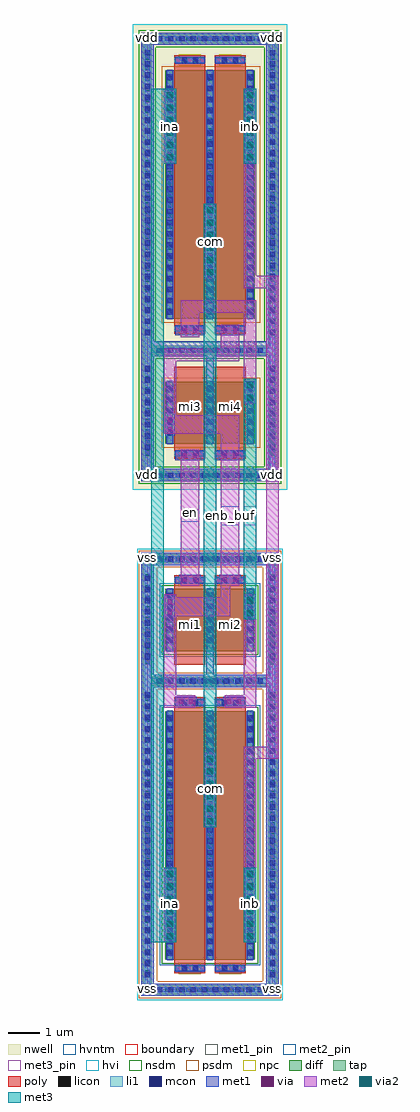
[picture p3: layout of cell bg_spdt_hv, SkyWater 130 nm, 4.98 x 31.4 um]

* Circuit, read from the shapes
.subckt bg_spdt_hv com en en_buf enb_buf ina inb vdd vss
XM1 com enb_buf ina vss sky130_fd_pr__nfet_g5v0d10v5 w=8 l=1
XM2 vss en enb_buf vss sky130_fd_pr__nfet_g5v0d10v5 w=2 l=1
XM3 inb en_buf com vss sky130_fd_pr__nfet_g5v0d10v5 w=8 l=1
XM4 en_buf enb_buf vss vss sky130_fd_pr__nfet_g5v0d10v5 w=2 l=1
XM5 vdd en enb_buf vdd sky130_fd_pr__pfet_g5v0d10v5 w=2 l=1
XM6 com en_buf ina vdd sky130_fd_pr__pfet_g5v0d10v5 w=8 l=1
XM7 en_buf enb_buf vdd vdd sky130_fd_pr__pfet_g5v0d10v5 w=2 l=1
XM8 inb enb_buf com vdd sky130_fd_pr__pfet_g5v0d10v5 w=8 l=1
.ends

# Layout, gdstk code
from math import pi, radians
import gdstk
lib = gdstk.Library(unit=1e-6, precision=1e-09)
def R(c, l, rs):  # rectangles x0, y0, x1, y1
    for r in rs: c.add(gdstk.rectangle(r[:2], r[2:], *l))
def A(c, l, x, y, w, h, nx, ny, dx, dy):  # array of equal rectangles
    R(c, l, [(x+i*dx, y+j*dy, x+i*dx+w, y+j*dy+h) for i in range(nx) for j in range(ny)])
def P(c, l, *ps):  # polygons
    for p in ps: c.add(gdstk.Polygon(p, *l))
nwell = (64, 20)
diff = (65, 20)
tap = (65, 44)
poly = (66, 20)
licon = (66, 44)
li1 = (67, 20)
mcon = (67, 44)
met1_pin = (68, 16)
met1 = (68, 20)
via = (68, 44)
met2_pin = (69, 16)
met2 = (69, 20)
via2 = (69, 44)
met3_pin = (70, 16)
met3 = (70, 20)
hvi = (75, 20)
nsdm = (93, 44)
psdm = (94, 20)
npc = (95, 20)
hvntm = (125, 20)
boundary = (235, 4)

sky130_fd_pr__nfet_g5v0d = lib.new_cell('sky130_fd_pr__nfet_g5v0d10v5_6KUJGB')
R(sky130_fd_pr__nfet_g5v0d, diff, [(0.91,1.295,3.78,3.295)])
R(sky130_fd_pr__nfet_g5v0d, tap, [(0.185,0.185,4.505,0.475), (0.185,0.475,0.475,4.115), (4.215,0.475,4.505,4.115), (0.185,4.115,4.505,4.405)])
R(sky130_fd_pr__nfet_g5v0d, poly, [(1.2,0.855,2.2,3.735), (2.49,0.855,3.49,3.735)])
A(sky130_fd_pr__nfet_g5v0d, licon, 0.9, 0.245, 0.17, 0.17, 9, 2, 0.34, 3.93)
A(sky130_fd_pr__nfet_g5v0d, licon, 0.245, 0.87, 0.17, 0.17, 1, 9, 0, 0.34)
A(sky130_fd_pr__nfet_g5v0d, licon, 4.275, 0.87, 0.17, 0.17, 1, 9, 0, 0.34)
A(sky130_fd_pr__nfet_g5v0d, licon, 0.97, 1.55, 0.17, 0.17, 3, 5, 1.29, 0.34)
R(sky130_fd_pr__nfet_g5v0d, licon, [(1.445,3.485,1.615,3.655), (1.785,3.485,1.955,3.655), (2.735,3.485,2.905,3.655), (3.075,3.485,3.245,3.655)])
A(sky130_fd_pr__nfet_g5v0d, li1, 0.97, 1.275, 0.17, 2.04, 3, 1, 1.29, 0)
R(sky130_fd_pr__nfet_g5v0d, li1, [(0.245,0.245,4.445,0.415), (0.245,0.415,0.415,4.175), (4.275,0.415,4.445,4.175), (1.2,3.485,2.2,3.655), (2.49,3.485,3.49,3.655), (0.245,4.175,4.445,4.345)])
A(sky130_fd_pr__nfet_g5v0d, mcon, 0.97, 1.57, 0.17, 0.17, 3, 5, 1.29, 0.36)
R(sky130_fd_pr__nfet_g5v0d, mcon, [(1.435,3.485,1.605,3.655), (1.795,3.485,1.965,3.655), (2.725,3.485,2.895,3.655), (3.085,3.485,3.255,3.655)])
A(sky130_fd_pr__nfet_g5v0d, met1, 0.94, 1.295, 0.23, 2, 3, 1, 1.29, 0)
R(sky130_fd_pr__nfet_g5v0d, met1, [(1.22,3.455,2.18,3.685), (2.51,3.455,3.47,3.685)])
R(sky130_fd_pr__nfet_g5v0d, hvi, [(0,0,4.69,4.59)])
R(sky130_fd_pr__nfet_g5v0d, nsdm, [(0.785,1.17,3.905,3.42)])
R(sky130_fd_pr__nfet_g5v0d, psdm, [(0.06,0.06,4.63,0.6), (0.06,0.6,0.655,3.99), (4.035,0.6,4.63,3.99), (0.06,3.99,4.63,4.53)])
R(sky130_fd_pr__nfet_g5v0d, npc, [(1.345,3.385,2.055,3.755), (2.635,3.385,3.345,3.755)])
R(sky130_fd_pr__nfet_g5v0d, hvntm, [(0.725,1.11,3.965,3.48)])
R(sky130_fd_pr__nfet_g5v0d, boundary, [(0.33,0.33,4.36,4.26)])

spdt_mi1_mi2 = lib.new_cell('spdt_mi1_mi2')
spdt_mi1_mi2.add(gdstk.Reference(sky130_fd_pr__nfet_g5v0d, (0,0)))

via__m1_m2 = lib.new_cell('via__M1_M2')
R(via__m1_m2, met1, [(0,0.05,0.7,0.35)])
R(via__m1_m2, via, [(0.115,0.125,0.265,0.275), (0.435,0.125,0.585,0.275)])
R(via__m1_m2, met2, [(0.05,0,0.65,0.4)])

c_sky130_fd_pr__nfet_g5v0d = lib.new_cell('sky130_fd_pr__nfet_g5v0d10v5_N3GJT9')
R(c_sky130_fd_pr__nfet_g5v0d, diff, [(0.91,1.295,3.78,9.295)])
R(c_sky130_fd_pr__nfet_g5v0d, tap, [(0.185,0.185,4.505,0.475), (0.185,0.475,0.475,10.115), (4.215,0.475,4.505,10.115), (0.185,10.115,4.505,10.405)])
R(c_sky130_fd_pr__nfet_g5v0d, poly, [(1.2,0.855,2.2,9.735), (2.49,0.855,3.49,9.735)])
A(c_sky130_fd_pr__nfet_g5v0d, licon, 0.9, 0.245, 0.17, 0.17, 9, 2, 0.34, 9.93)
A(c_sky130_fd_pr__nfet_g5v0d, licon, 0.245, 0.79, 0.17, 0.17, 1, 27, 0, 0.34)
A(c_sky130_fd_pr__nfet_g5v0d, licon, 4.275, 0.79, 0.17, 0.17, 1, 27, 0, 0.34)
A(c_sky130_fd_pr__nfet_g5v0d, licon, 0.97, 1.47, 0.17, 0.17, 3, 23, 1.29, 0.34)
R(c_sky130_fd_pr__nfet_g5v0d, licon, [(1.445,0.935,1.615,1.105), (1.785,0.935,1.955,1.105), (2.735,0.935,2.905,1.105), (3.075,0.935,3.245,1.105), (1.445,9.485,1.615,9.655), (1.785,9.485,1.955,9.655), (2.735,9.485,2.905,9.655), (3.075,9.485,3.245,9.655)])
A(c_sky130_fd_pr__nfet_g5v0d, li1, 0.97, 1.275, 0.17, 8.04, 3, 1, 1.29, 0)
R(c_sky130_fd_pr__nfet_g5v0d, li1, [(0.245,0.245,4.445,0.415), (0.245,0.415,0.415,10.175), (4.275,0.415,4.445,10.175), (1.2,0.935,2.2,1.105), (2.49,0.935,3.49,1.105), (1.2,9.485,2.2,9.655), (2.49,9.485,3.49,9.655), (0.245,10.175,4.445,10.345)])
A(c_sky130_fd_pr__nfet_g5v0d, mcon, 0.97, 1.43, 0.17, 0.17, 3, 22, 1.29, 0.36)
R(c_sky130_fd_pr__nfet_g5v0d, mcon, [(1.435,0.935,1.605,1.105), (1.795,0.935,1.965,1.105), (2.725,0.935,2.895,1.105), (3.085,0.935,3.255,1.105), (1.435,9.485,1.605,9.655), (1.795,9.485,1.965,9.655), (2.725,9.485,2.895,9.655), (3.085,9.485,3.255,9.655)])
A(c_sky130_fd_pr__nfet_g5v0d, met1, 0.94, 1.295, 0.23, 8, 3, 1, 1.29, 0)
R(c_sky130_fd_pr__nfet_g5v0d, met1, [(1.22,0.905,2.18,1.135), (2.51,0.905,3.47,1.135), (1.22,9.455,2.18,9.685), (2.51,9.455,3.47,9.685)])
R(c_sky130_fd_pr__nfet_g5v0d, hvi, [(0,0,4.69,10.59)])
R(c_sky130_fd_pr__nfet_g5v0d, nsdm, [(0.785,1.17,3.905,9.42)])
R(c_sky130_fd_pr__nfet_g5v0d, psdm, [(0.06,0.06,4.63,0.6), (0.06,0.6,0.655,9.99), (4.035,0.6,4.63,9.99), (0.06,9.99,4.63,10.53)])
R(c_sky130_fd_pr__nfet_g5v0d, npc, [(1.345,0.835,2.055,1.205), (2.635,0.835,3.345,1.205), (1.345,9.385,2.055,9.755), (2.635,9.385,3.345,9.755)])
R(c_sky130_fd_pr__nfet_g5v0d, hvntm, [(0.725,1.11,3.965,9.48)])
R(c_sky130_fd_pr__nfet_g5v0d, boundary, [(0.33,0.33,4.36,10.26)])

spdt_m1_m3 = lib.new_cell('spdt_m1_m3')
spdt_m1_m3.add(gdstk.Reference(c_sky130_fd_pr__nfet_g5v0d, (0,0)))

sky130_fd_pr__pfet_g5v0d = lib.new_cell('sky130_fd_pr__pfet_g5v0d10v5_2EL6HC')
R(sky130_fd_pr__pfet_g5v0d, nwell, [(0,0,4.98,10.97)])
R(sky130_fd_pr__pfet_g5v0d, diff, [(1.055,1.485,3.925,9.485)])
R(sky130_fd_pr__pfet_g5v0d, tap, [(0.33,0.33,4.65,0.62), (0.33,0.62,0.62,10.35), (4.36,0.62,4.65,10.35), (0.33,10.35,4.65,10.64)])
R(sky130_fd_pr__pfet_g5v0d, poly, [(1.345,1,2.345,9.97), (2.635,1,3.635,9.97)])
A(sky130_fd_pr__pfet_g5v0d, licon, 1.045, 0.39, 0.17, 0.17, 9, 2, 0.34, 10.02)
A(sky130_fd_pr__pfet_g5v0d, licon, 0.39, 0.98, 0.17, 0.17, 1, 27, 0, 0.34)
A(sky130_fd_pr__pfet_g5v0d, licon, 4.42, 0.98, 0.17, 0.17, 1, 27, 0, 0.34)
A(sky130_fd_pr__pfet_g5v0d, licon, 1.115, 1.66, 0.17, 0.17, 3, 23, 1.29, 0.34)
R(sky130_fd_pr__pfet_g5v0d, licon, [(1.59,1.08,1.76,1.25), (1.93,1.08,2.1,1.25), (2.88,1.08,3.05,1.25), (3.22,1.08,3.39,1.25), (1.59,9.72,1.76,9.89), (1.93,9.72,2.1,9.89), (2.88,9.72,3.05,9.89), (3.22,9.72,3.39,9.89)])
A(sky130_fd_pr__pfet_g5v0d, li1, 1.115, 1.465, 0.17, 8.04, 3, 1, 1.29, 0)
R(sky130_fd_pr__pfet_g5v0d, li1, [(0.39,0.39,4.59,0.56), (0.39,0.56,0.56,10.41), (4.42,0.56,4.59,10.41), (1.345,1.08,2.345,1.25), (2.635,1.08,3.635,1.25), (1.345,9.72,2.345,9.89), (2.635,9.72,3.635,9.89), (0.39,10.41,4.59,10.58)])
A(sky130_fd_pr__pfet_g5v0d, mcon, 1.115, 1.62, 0.17, 0.17, 3, 22, 1.29, 0.36)
R(sky130_fd_pr__pfet_g5v0d, mcon, [(1.58,1.08,1.75,1.25), (1.94,1.08,2.11,1.25), (2.87,1.08,3.04,1.25), (3.23,1.08,3.4,1.25), (1.58,9.72,1.75,9.89), (1.94,9.72,2.11,9.89), (2.87,9.72,3.04,9.89), (3.23,9.72,3.4,9.89)])
A(sky130_fd_pr__pfet_g5v0d, met1, 1.085, 1.485, 0.23, 8, 3, 1, 1.29, 0)
R(sky130_fd_pr__pfet_g5v0d, met1, [(1.365,1.05,2.325,1.28), (2.655,1.05,3.615,1.28), (1.365,9.69,2.325,9.92), (2.655,9.69,3.615,9.92)])
R(sky130_fd_pr__pfet_g5v0d, hvi, [(0,0,4.98,10.97)])
R(sky130_fd_pr__pfet_g5v0d, nsdm, [(0.205,0.205,4.775,0.745), (0.205,0.745,0.745,10.225), (4.235,0.745,4.775,10.225), (0.205,10.225,4.775,10.765)])
R(sky130_fd_pr__pfet_g5v0d, psdm, [(0.93,1.36,4.105,9.61)])
R(sky130_fd_pr__pfet_g5v0d, npc, [(1.49,0.98,2.2,1.35), (2.78,0.98,3.49,1.35), (1.49,9.62,2.2,9.99), (2.78,9.62,3.49,9.99)])
R(sky130_fd_pr__pfet_g5v0d, boundary, [(0.475,0.475,4.505,10.495)])

spdt_m2_m4 = lib.new_cell('spdt_m2_m4')
spdt_m2_m4.add(gdstk.Reference(sky130_fd_pr__pfet_g5v0d, (0,0)))

via__li_m1 = lib.new_cell('via__LI_M1')
R(via__li_m1, li1, [(0.03,0.03,0.56,0.2)])
R(via__li_m1, mcon, [(0.03,0.03,0.2,0.2), (0.39,0.03,0.56,0.2)])
R(via__li_m1, met1, [(0,0,0.59,0.23)])

via__m2_m3 = lib.new_cell('via__M2_M3')
R(via__m2_m3, met2, [(0,0,0.8,0.4)])
R(via__m2_m3, via2, [(0.1,0.1,0.3,0.3), (0.1,0.1,0.3,0.3), (0.5,0.1,0.7,0.3), (0.5,0.1,0.7,0.3)])
R(via__m2_m3, met3, [(0,0,0.8,0.4)])

c_sky130_fd_pr__pfet_g5v0d = lib.new_cell('sky130_fd_pr__pfet_g5v0d10v5_2EL6HD')
R(c_sky130_fd_pr__pfet_g5v0d, nwell, [(0,0,4.98,4.97)])
R(c_sky130_fd_pr__pfet_g5v0d, diff, [(1.055,1.485,3.925,3.485)])
R(c_sky130_fd_pr__pfet_g5v0d, tap, [(0.33,0.33,4.65,0.62), (0.33,0.62,0.62,4.35), (4.36,0.62,4.65,4.35), (0.33,4.35,4.65,4.64)])
R(c_sky130_fd_pr__pfet_g5v0d, poly, [(1.345,1,2.345,3.97), (2.635,1,3.635,3.97)])
A(c_sky130_fd_pr__pfet_g5v0d, licon, 1.045, 0.39, 0.17, 0.17, 9, 2, 0.34, 4.02)
A(c_sky130_fd_pr__pfet_g5v0d, licon, 0.39, 1.1, 0.17, 0.17, 1, 9, 0, 0.34)
A(c_sky130_fd_pr__pfet_g5v0d, licon, 4.42, 1.1, 0.17, 0.17, 1, 9, 0, 0.34)
A(c_sky130_fd_pr__pfet_g5v0d, licon, 1.115, 1.78, 0.17, 0.17, 3, 5, 1.29, 0.34)
R(c_sky130_fd_pr__pfet_g5v0d, licon, [(1.59,1.08,1.76,1.25), (1.93,1.08,2.1,1.25), (2.88,1.08,3.05,1.25), (3.22,1.08,3.39,1.25)])
A(c_sky130_fd_pr__pfet_g5v0d, li1, 1.115, 1.465, 0.17, 2.04, 3, 1, 1.29, 0)
R(c_sky130_fd_pr__pfet_g5v0d, li1, [(0.39,0.39,4.59,0.56), (0.39,0.56,0.56,4.41), (4.42,0.56,4.59,4.41), (1.345,1.08,2.345,1.25), (2.635,1.08,3.635,1.25), (0.39,4.41,4.59,4.58)])
A(c_sky130_fd_pr__pfet_g5v0d, mcon, 1.115, 1.74, 0.17, 0.17, 3, 5, 1.29, 0.36)
R(c_sky130_fd_pr__pfet_g5v0d, mcon, [(1.58,1.08,1.75,1.25), (1.94,1.08,2.11,1.25), (2.87,1.08,3.04,1.25), (3.23,1.08,3.4,1.25)])
A(c_sky130_fd_pr__pfet_g5v0d, met1, 1.085, 1.485, 0.23, 2, 3, 1, 1.29, 0)
R(c_sky130_fd_pr__pfet_g5v0d, met1, [(1.365,1.05,2.325,1.28), (2.655,1.05,3.615,1.28)])
R(c_sky130_fd_pr__pfet_g5v0d, hvi, [(0,0,4.98,4.97)])
R(c_sky130_fd_pr__pfet_g5v0d, nsdm, [(0.205,0.205,4.775,0.745), (0.205,0.745,0.745,4.225), (4.235,0.745,4.775,4.225), (0.205,4.225,4.775,4.765)])
R(c_sky130_fd_pr__pfet_g5v0d, psdm, [(0.93,1.36,4.105,3.61)])
R(c_sky130_fd_pr__pfet_g5v0d, npc, [(1.49,0.98,2.2,1.35), (2.78,0.98,3.49,1.35)])
R(c_sky130_fd_pr__pfet_g5v0d, boundary, [(0.475,0.475,4.505,4.495)])

spdt_mi3_mi4 = lib.new_cell('spdt_mi3_mi4')
spdt_mi3_mi4.add(gdstk.Reference(c_sky130_fd_pr__pfet_g5v0d, (0,6)))

bg_spdt_hv = lib.new_cell('bg_spdt_hv')
R(bg_spdt_hv, met1_pin, [(0.275,0.13,0.675,0.53), (4.305,0.13,4.705,0.53), (0.275,13.99,0.675,14.39), (4.305,13.99,4.705,14.39), (0.275,16.685,0.675,17.085), (4.305,16.685,4.705,17.085), (0.275,30.725,0.675,31.125), (4.305,30.725,4.705,31.125)])
R(bg_spdt_hv, met1, [(1.05,1.905,1.35,2.605), (1.05,1.905,1.35,4.205), (3.63,1.905,3.93,2.605), (3.63,1.905,3.93,4.205), (1.05,2.705,1.35,4.205), (3.63,2.705,3.93,4.205), (2.34,5.605,2.64,6.305), (2.34,5.605,2.64,7.905), (2.34,6.405,2.64,7.905), (2.375,10.46,2.605,13.225), (1.365,17.36,2.325,17.69), (2.655,17.36,3.615,17.69), (2.375,17.895,2.605,20.705), (1.365,21.38,2.325,21.71), (2.655,21.38,3.615,21.71), (2.34,23.26,2.64,24.76), (2.34,23.26,2.64,25.56), (2.34,24.86,2.64,25.56), (1.05,26.96,1.35,27.66), (1.05,26.96,1.35,29.26), (3.63,26.96,3.93,27.66), (3.63,26.96,3.93,29.26), (1.05,27.76,1.35,29.26), (3.63,27.76,3.93,29.26)])
R(bg_spdt_hv, met2_pin, [(2.835,15.28,3.435,15.88), (1.545,15.38,2.145,15.78)])
R(bg_spdt_hv, met2, [(1.4,12.35,3.14,12.95), (2.835,12.35,3.14,13.335), (1.545,13.735,2.145,17.31), (2.835,13.735,3.435,18.81), (1,18.21,3.435,18.81), (2.835,20.955,3.435,21.73), (1.545,21.33,2.145,22.105)])
P(bg_spdt_hv, met2, [(1,9.405),(1,13.05),(1.4,13.05),(1.4,9.805),(2.015,9.805),(2.015,9.405)])
R(bg_spdt_hv, met3_pin, [(1,1.855,1.4,4.255), (3.58,1.855,3.98,4.255), (2.29,5.555,2.69,7.955), (3.58,15.28,3.98,15.88), (2.29,23.21,2.69,25.61), (1,26.91,1.4,29.31), (3.58,26.91,3.98,29.31)])
R(bg_spdt_hv, met3, [(3.58,12.25,3.98,19.98)])
bg_spdt_hv.add(gdstk.FlexPath([(3.78,29.31),(3.78,23.095),(4.505,23.095),(4.505,7.955),(3.78,7.955),(3.78,1.855)], 0.4, ends="flush", simple_path=True, layer=69, datatype=20))  # met2
bg_spdt_hv.add(gdstk.FlexPath([(1.2,18.81),(1.2,20.755),(3.435,20.755)], 0.4, ends="flush", simple_path=True, layer=69, datatype=20))  # met2
bg_spdt_hv.add(gdstk.FlexPath([(3.78,12.25),(3.78,9.605),(2.965,9.605)], 0.4, ends="flush", simple_path=True, layer=69, datatype=20))  # met2
bg_spdt_hv.add(gdstk.FlexPath([(3.78,19.98),(3.78,22.305),(1.545,22.305)], 0.4, ends="flush", simple_path=True, layer=69, datatype=20))  # met2
bg_spdt_hv.add(gdstk.FlexPath([(0.475,16.885),(0.475,20.905)], 0.4, ends="flush", simple_path=True, layer=68, datatype=20))  # met1
bg_spdt_hv.add(gdstk.FlexPath([(0.475,10.26),(0.475,14.19)], 0.4, ends="flush", simple_path=True, layer=68, datatype=20))  # met1
bg_spdt_hv.add(gdstk.FlexPath([(0.475,10.26),(4.505,10.26),(4.505,0.33),(0.475,0.33),(0.475,10.26)], 0.4, ends="extended", simple_path=True, layer=68, datatype=20))  # met1
bg_spdt_hv.add(gdstk.FlexPath([(0.475,30.925),(4.505,30.925),(4.505,20.995),(0.475,20.995),(0.475,30.925)], 0.4, ends="extended", simple_path=True, layer=68, datatype=20))  # met1
bg_spdt_hv.add(gdstk.FlexPath([(0.475,14.19),(4.505,14.19),(4.505,10.26),(0.475,10.26)], 0.4, ends="extended", simple_path=True, layer=68, datatype=20))  # met1
bg_spdt_hv.add(gdstk.FlexPath([(0.475,20.905),(4.505,20.905),(4.505,16.885),(0.475,16.885)], 0.4, ends="extended", simple_path=True, layer=68, datatype=20))  # met1
bg_spdt_hv.add(gdstk.FlexPath([(0.8,29.31),(0.8,1.855)], 0.4, ends="flush", simple_path=True, layer=70, datatype=20))  # met3
bg_spdt_hv.add(gdstk.FlexPath([(2.49,25.61),(2.49,5.555)], 0.4, ends="flush", simple_path=True, layer=70, datatype=20))  # met3
bg_spdt_hv.add(gdstk.Reference(spdt_mi1_mi2, (0.145,9.93)))
bg_spdt_hv.add(gdstk.Reference(via__m1_m2, (1.495,13.335)))
bg_spdt_hv.add(gdstk.Reference(via__m1_m2, (2.785,13.335)))
bg_spdt_hv.add(gdstk.Reference(spdt_m1_m3, (0.145,0)))
bg_spdt_hv.add(gdstk.Reference(via__m1_m2, (2.065,9.805), rotation=pi))
bg_spdt_hv.add(gdstk.Reference(via__m1_m2, (3.615,9.805), rotation=pi))
bg_spdt_hv.add(gdstk.Reference(spdt_m2_m4, (0,20.43)))
bg_spdt_hv.add(gdstk.Reference(via__li_m1, (0.75,0.215)))
bg_spdt_hv.add(gdstk.Reference(via__li_m1, (1.47,0.215)))
bg_spdt_hv.add(gdstk.Reference(via__li_m1, (2.19,0.215)))
bg_spdt_hv.add(gdstk.Reference(via__li_m1, (2.91,0.215)))
bg_spdt_hv.add(gdstk.Reference(via__li_m1, (3.63,0.215)))
bg_spdt_hv.add(gdstk.Reference(via__li_m1, (0.75,10.145)))
bg_spdt_hv.add(gdstk.Reference(via__li_m1, (1.47,10.145)))
bg_spdt_hv.add(gdstk.Reference(via__li_m1, (2.19,10.145)))
bg_spdt_hv.add(gdstk.Reference(via__li_m1, (2.91,10.145)))
bg_spdt_hv.add(gdstk.Reference(via__li_m1, (3.63,10.145)))
bg_spdt_hv.add(gdstk.Reference(via__li_m1, (0.75,14.075)))
bg_spdt_hv.add(gdstk.Reference(via__li_m1, (1.47,14.075)))
bg_spdt_hv.add(gdstk.Reference(via__li_m1, (2.19,14.075)))
bg_spdt_hv.add(gdstk.Reference(via__li_m1, (2.91,14.075)))
bg_spdt_hv.add(gdstk.Reference(via__li_m1, (3.63,14.075)))
bg_spdt_hv.add(gdstk.Reference(via__li_m1, (0.75,16.77)))
bg_spdt_hv.add(gdstk.Reference(via__li_m1, (1.47,16.77)))
bg_spdt_hv.add(gdstk.Reference(via__li_m1, (2.19,16.77)))
bg_spdt_hv.add(gdstk.Reference(via__li_m1, (2.91,16.77)))
bg_spdt_hv.add(gdstk.Reference(via__li_m1, (3.63,16.77)))
bg_spdt_hv.add(gdstk.Reference(via__li_m1, (0.75,20.79)))
bg_spdt_hv.add(gdstk.Reference(via__li_m1, (1.47,20.79)))
bg_spdt_hv.add(gdstk.Reference(via__li_m1, (2.19,20.79)))
bg_spdt_hv.add(gdstk.Reference(via__li_m1, (2.91,20.79)))
bg_spdt_hv.add(gdstk.Reference(via__li_m1, (3.63,20.79)))
bg_spdt_hv.add(gdstk.Reference(via__li_m1, (0.75,30.81)))
bg_spdt_hv.add(gdstk.Reference(via__li_m1, (1.47,30.81)))
bg_spdt_hv.add(gdstk.Reference(via__li_m1, (2.19,30.81)))
bg_spdt_hv.add(gdstk.Reference(via__li_m1, (2.91,30.81)))
bg_spdt_hv.add(gdstk.Reference(via__li_m1, (3.63,30.81)))
bg_spdt_hv.add(gdstk.Reference(via__li_m1, (0.36,1.285), rotation=3*pi/2))
bg_spdt_hv.add(gdstk.Reference(via__li_m1, (4.39,1.285), rotation=3*pi/2))
bg_spdt_hv.add(gdstk.Reference(via__li_m1, (0.36,2.005), rotation=3*pi/2))
bg_spdt_hv.add(gdstk.Reference(via__li_m1, (4.39,2.005), rotation=3*pi/2))
bg_spdt_hv.add(gdstk.Reference(via__li_m1, (0.36,2.725), rotation=3*pi/2))
bg_spdt_hv.add(gdstk.Reference(via__li_m1, (4.39,2.725), rotation=3*pi/2))
bg_spdt_hv.add(gdstk.Reference(via__li_m1, (0.36,3.445), rotation=3*pi/2))
bg_spdt_hv.add(gdstk.Reference(via__li_m1, (4.39,3.445), rotation=3*pi/2))
bg_spdt_hv.add(gdstk.Reference(via__li_m1, (0.36,4.165), rotation=3*pi/2))
bg_spdt_hv.add(gdstk.Reference(via__li_m1, (4.39,4.165), rotation=3*pi/2))
bg_spdt_hv.add(gdstk.Reference(via__li_m1, (0.36,4.885), rotation=3*pi/2))
bg_spdt_hv.add(gdstk.Reference(via__li_m1, (4.39,4.885), rotation=3*pi/2))
bg_spdt_hv.add(gdstk.Reference(via__li_m1, (0.36,5.605), rotation=3*pi/2))
bg_spdt_hv.add(gdstk.Reference(via__li_m1, (4.39,5.605), rotation=3*pi/2))
bg_spdt_hv.add(gdstk.Reference(via__li_m1, (0.36,6.325), rotation=3*pi/2))
bg_spdt_hv.add(gdstk.Reference(via__li_m1, (4.39,6.325), rotation=3*pi/2))
bg_spdt_hv.add(gdstk.Reference(via__li_m1, (0.36,7.045), rotation=3*pi/2))
bg_spdt_hv.add(gdstk.Reference(via__li_m1, (4.39,7.045), rotation=3*pi/2))
bg_spdt_hv.add(gdstk.Reference(via__li_m1, (0.36,7.765), rotation=3*pi/2))
bg_spdt_hv.add(gdstk.Reference(via__li_m1, (4.39,7.765), rotation=3*pi/2))
bg_spdt_hv.add(gdstk.Reference(via__li_m1, (0.36,8.485), rotation=3*pi/2))
bg_spdt_hv.add(gdstk.Reference(via__li_m1, (4.39,8.485), rotation=3*pi/2))
bg_spdt_hv.add(gdstk.Reference(via__li_m1, (0.36,9.205), rotation=3*pi/2))
bg_spdt_hv.add(gdstk.Reference(via__li_m1, (4.39,9.205), rotation=3*pi/2))
bg_spdt_hv.add(gdstk.Reference(via__li_m1, (0.36,9.925), rotation=3*pi/2))
bg_spdt_hv.add(gdstk.Reference(via__li_m1, (4.39,9.925), rotation=3*pi/2))
bg_spdt_hv.add(gdstk.Reference(via__li_m1, (0.36,11.525), rotation=3*pi/2))
bg_spdt_hv.add(gdstk.Reference(via__li_m1, (4.39,11.525), rotation=3*pi/2))
bg_spdt_hv.add(gdstk.Reference(via__li_m1, (0.36,12.245), rotation=3*pi/2))
bg_spdt_hv.add(gdstk.Reference(via__li_m1, (4.39,12.245), rotation=3*pi/2))
bg_spdt_hv.add(gdstk.Reference(via__li_m1, (0.36,12.965), rotation=3*pi/2))
bg_spdt_hv.add(gdstk.Reference(via__li_m1, (4.39,12.965), rotation=3*pi/2))
bg_spdt_hv.add(gdstk.Reference(via__li_m1, (0.36,13.685), rotation=3*pi/2))
bg_spdt_hv.add(gdstk.Reference(via__li_m1, (4.39,13.685), rotation=3*pi/2))
bg_spdt_hv.add(gdstk.Reference(via__li_m1, (0.36,18.26), rotation=3*pi/2))
bg_spdt_hv.add(gdstk.Reference(via__li_m1, (4.39,18.26), rotation=3*pi/2))
bg_spdt_hv.add(gdstk.Reference(via__li_m1, (0.36,18.98), rotation=3*pi/2))
bg_spdt_hv.add(gdstk.Reference(via__li_m1, (4.39,18.98), rotation=3*pi/2))
bg_spdt_hv.add(gdstk.Reference(via__li_m1, (0.36,19.7), rotation=3*pi/2))
bg_spdt_hv.add(gdstk.Reference(via__li_m1, (4.39,19.7), rotation=3*pi/2))
bg_spdt_hv.add(gdstk.Reference(via__li_m1, (0.36,20.42), rotation=3*pi/2))
bg_spdt_hv.add(gdstk.Reference(via__li_m1, (4.39,20.42), rotation=3*pi/2))
bg_spdt_hv.add(gdstk.Reference(via__li_m1, (0.36,21.95), rotation=3*pi/2))
bg_spdt_hv.add(gdstk.Reference(via__li_m1, (4.39,21.95), rotation=3*pi/2))
bg_spdt_hv.add(gdstk.Reference(via__li_m1, (0.36,22.67), rotation=3*pi/2))
bg_spdt_hv.add(gdstk.Reference(via__li_m1, (4.39,22.67), rotation=3*pi/2))
bg_spdt_hv.add(gdstk.Reference(via__li_m1, (0.36,23.39), rotation=3*pi/2))
bg_spdt_hv.add(gdstk.Reference(via__li_m1, (4.39,23.39), rotation=3*pi/2))
bg_spdt_hv.add(gdstk.Reference(via__li_m1, (0.36,24.11), rotation=3*pi/2))
bg_spdt_hv.add(gdstk.Reference(via__li_m1, (4.39,24.11), rotation=3*pi/2))
bg_spdt_hv.add(gdstk.Reference(via__li_m1, (0.36,24.83), rotation=3*pi/2))
bg_spdt_hv.add(gdstk.Reference(via__li_m1, (4.39,24.83), rotation=3*pi/2))
bg_spdt_hv.add(gdstk.Reference(via__li_m1, (0.36,25.55), rotation=3*pi/2))
bg_spdt_hv.add(gdstk.Reference(via__li_m1, (4.39,25.55), rotation=3*pi/2))
bg_spdt_hv.add(gdstk.Reference(via__li_m1, (0.36,26.27), rotation=3*pi/2))
bg_spdt_hv.add(gdstk.Reference(via__li_m1, (4.39,26.27), rotation=3*pi/2))
bg_spdt_hv.add(gdstk.Reference(via__li_m1, (0.36,26.99), rotation=3*pi/2))
bg_spdt_hv.add(gdstk.Reference(via__li_m1, (4.39,26.99), rotation=3*pi/2))
bg_spdt_hv.add(gdstk.Reference(via__li_m1, (0.36,27.71), rotation=3*pi/2))
bg_spdt_hv.add(gdstk.Reference(via__li_m1, (4.39,27.71), rotation=3*pi/2))
bg_spdt_hv.add(gdstk.Reference(via__li_m1, (0.36,28.43), rotation=3*pi/2))
bg_spdt_hv.add(gdstk.Reference(via__li_m1, (4.39,28.43), rotation=3*pi/2))
bg_spdt_hv.add(gdstk.Reference(via__li_m1, (0.36,29.15), rotation=3*pi/2))
bg_spdt_hv.add(gdstk.Reference(via__li_m1, (4.39,29.15), rotation=3*pi/2))
bg_spdt_hv.add(gdstk.Reference(via__li_m1, (0.36,29.87), rotation=3*pi/2))
bg_spdt_hv.add(gdstk.Reference(via__li_m1, (4.39,29.87), rotation=3*pi/2))
bg_spdt_hv.add(gdstk.Reference(via__li_m1, (0.36,30.59), rotation=3*pi/2))
bg_spdt_hv.add(gdstk.Reference(via__li_m1, (4.39,30.59), rotation=3*pi/2))
bg_spdt_hv.add(gdstk.Reference(via__m2_m3, (1,2.655), rotation=3*pi/2))
bg_spdt_hv.add(gdstk.Reference(via__m2_m3, (3.58,2.655), rotation=3*pi/2))
bg_spdt_hv.add(gdstk.Reference(via__m2_m3, (1,3.455), rotation=3*pi/2))
bg_spdt_hv.add(gdstk.Reference(via__m2_m3, (3.58,3.455), rotation=3*pi/2))
bg_spdt_hv.add(gdstk.Reference(via__m2_m3, (1,4.255), rotation=3*pi/2))
bg_spdt_hv.add(gdstk.Reference(via__m2_m3, (3.58,4.255), rotation=3*pi/2))
bg_spdt_hv.add(gdstk.Reference(via__m2_m3, (2.29,6.355), rotation=3*pi/2))
bg_spdt_hv.add(gdstk.Reference(via__m2_m3, (2.29,7.155), rotation=3*pi/2))
bg_spdt_hv.add(gdstk.Reference(via__m2_m3, (2.29,7.955), rotation=3*pi/2))
bg_spdt_hv.add(gdstk.Reference(via__m2_m3, (3.58,13.05), rotation=3*pi/2))
bg_spdt_hv.add(gdstk.Reference(via__m2_m3, (3.58,19.98), rotation=3*pi/2))
bg_spdt_hv.add(gdstk.Reference(via__m2_m3, (2.29,24.01), rotation=3*pi/2))
bg_spdt_hv.add(gdstk.Reference(via__m2_m3, (2.29,24.81), rotation=3*pi/2))
bg_spdt_hv.add(gdstk.Reference(via__m2_m3, (2.29,25.61), rotation=3*pi/2))
bg_spdt_hv.add(gdstk.Reference(via__m2_m3, (1,27.71), rotation=3*pi/2))
bg_spdt_hv.add(gdstk.Reference(via__m2_m3, (3.58,27.71), rotation=3*pi/2))
bg_spdt_hv.add(gdstk.Reference(via__m2_m3, (1,28.51), rotation=3*pi/2))
bg_spdt_hv.add(gdstk.Reference(via__m2_m3, (3.58,28.51), rotation=3*pi/2))
bg_spdt_hv.add(gdstk.Reference(via__m2_m3, (1,29.31), rotation=3*pi/2))
bg_spdt_hv.add(gdstk.Reference(via__m2_m3, (3.58,29.31), rotation=3*pi/2))
bg_spdt_hv.add(gdstk.Reference(via__m1_m2, (1.495,17.71), x_reflection=True))
bg_spdt_hv.add(gdstk.Reference(via__m1_m2, (2.785,17.71), x_reflection=True))
bg_spdt_hv.add(gdstk.Reference(via__m1_m2, (1.495,21.73), x_reflection=True))
bg_spdt_hv.add(gdstk.Reference(via__m1_m2, (2.785,21.73), x_reflection=True))
bg_spdt_hv.add(gdstk.Reference(via__m1_m2, (1,2.605), rotation=3*pi/2))
bg_spdt_hv.add(gdstk.Reference(via__m1_m2, (3.58,2.605), rotation=3*pi/2))
bg_spdt_hv.add(gdstk.Reference(via__m1_m2, (1,3.405), rotation=3*pi/2))
bg_spdt_hv.add(gdstk.Reference(via__m1_m2, (3.58,3.405), rotation=3*pi/2))
bg_spdt_hv.add(gdstk.Reference(via__m1_m2, (1,4.205), rotation=3*pi/2))
bg_spdt_hv.add(gdstk.Reference(via__m1_m2, (3.58,4.205), rotation=3*pi/2))
bg_spdt_hv.add(gdstk.Reference(via__m1_m2, (2.29,6.305), rotation=3*pi/2))
bg_spdt_hv.add(gdstk.Reference(via__m1_m2, (2.29,7.105), rotation=3*pi/2))
bg_spdt_hv.add(gdstk.Reference(via__m1_m2, (2.29,7.905), rotation=3*pi/2))
bg_spdt_hv.add(gdstk.Reference(via__m1_m2, (1,13), rotation=3*pi/2))
bg_spdt_hv.add(gdstk.Reference(via__m1_m2, (3.58,13), rotation=3*pi/2))
bg_spdt_hv.add(gdstk.Reference(via__m1_m2, (1,18.86), rotation=3*pi/2))
bg_spdt_hv.add(gdstk.Reference(via__m1_m2, (3.58,19.93), rotation=3*pi/2))
bg_spdt_hv.add(gdstk.Reference(via__m1_m2, (2.29,23.96), rotation=3*pi/2))
bg_spdt_hv.add(gdstk.Reference(via__m1_m2, (2.29,24.76), rotation=3*pi/2))
bg_spdt_hv.add(gdstk.Reference(via__m1_m2, (2.29,25.56), rotation=3*pi/2))
bg_spdt_hv.add(gdstk.Reference(via__m1_m2, (1,27.66), rotation=3*pi/2))
bg_spdt_hv.add(gdstk.Reference(via__m1_m2, (3.58,27.66), rotation=3*pi/2))
bg_spdt_hv.add(gdstk.Reference(via__m1_m2, (1,28.46), rotation=3*pi/2))
bg_spdt_hv.add(gdstk.Reference(via__m1_m2, (3.58,28.46), rotation=3*pi/2))
bg_spdt_hv.add(gdstk.Reference(via__m1_m2, (1,29.26), rotation=3*pi/2))
bg_spdt_hv.add(gdstk.Reference(via__m1_m2, (3.58,29.26), rotation=3*pi/2))
bg_spdt_hv.add(gdstk.Reference(spdt_mi3_mi4, (0,10.41)))
bg_spdt_hv.add(gdstk.Label('mi3', (1.86,19.11), layer=83, texttype=44))
bg_spdt_hv.add(gdstk.Label('mi4', (3.16,19.11), layer=83, texttype=44))
bg_spdt_hv.add(gdstk.Label('mi2', (3.16,12.09), layer=83, texttype=44))
bg_spdt_hv.add(gdstk.Label('mi1', (1.86,12.09), layer=83, texttype=44))
bg_spdt_hv.add(gdstk.Label('enb_buf', (3.165,15.58), layer=69, texttype=5))
bg_spdt_hv.add(gdstk.Label('en', (1.855,15.7), layer=69, texttype=5))
bg_spdt_hv.add(gdstk.Label('vss', (0.485,0.375), layer=68, texttype=5))
bg_spdt_hv.add(gdstk.Label('vss', (4.515,0.375), layer=68, texttype=5))
bg_spdt_hv.add(gdstk.Label('vss', (0.485,14.235), layer=68, texttype=5))
bg_spdt_hv.add(gdstk.Label('vss', (4.515,14.235), layer=68, texttype=5))
bg_spdt_hv.add(gdstk.Label('vdd', (0.48,16.915), layer=68, texttype=5))
bg_spdt_hv.add(gdstk.Label('vdd', (4.51,16.915), layer=68, texttype=5))
bg_spdt_hv.add(gdstk.Label('vdd', (4.51,30.955), layer=68, texttype=5))
bg_spdt_hv.add(gdstk.Label('vdd', (0.485,30.97), layer=68, texttype=5))
bg_spdt_hv.add(gdstk.Label('ina', (1.175,3.115), layer=70, texttype=5))
bg_spdt_hv.add(gdstk.Label('ina', (1.2,28.11), layer=70, texttype=5))
bg_spdt_hv.add(gdstk.Label('inb', (3.78,3.115), layer=70, texttype=5))
bg_spdt_hv.add(gdstk.Label('inb', (3.79,28.11), layer=70, texttype=5))
bg_spdt_hv.add(gdstk.Label('com', (2.49,6.805), layer=70, texttype=5))
bg_spdt_hv.add(gdstk.Label('com', (2.49,24.405), layer=70, texttype=5))
bg_spdt_hv.add(gdstk.Label('en_buf', (3.82,15.575), layer=70, texttype=5))

lib.write_gds('bg_spdt_hv.gds')
